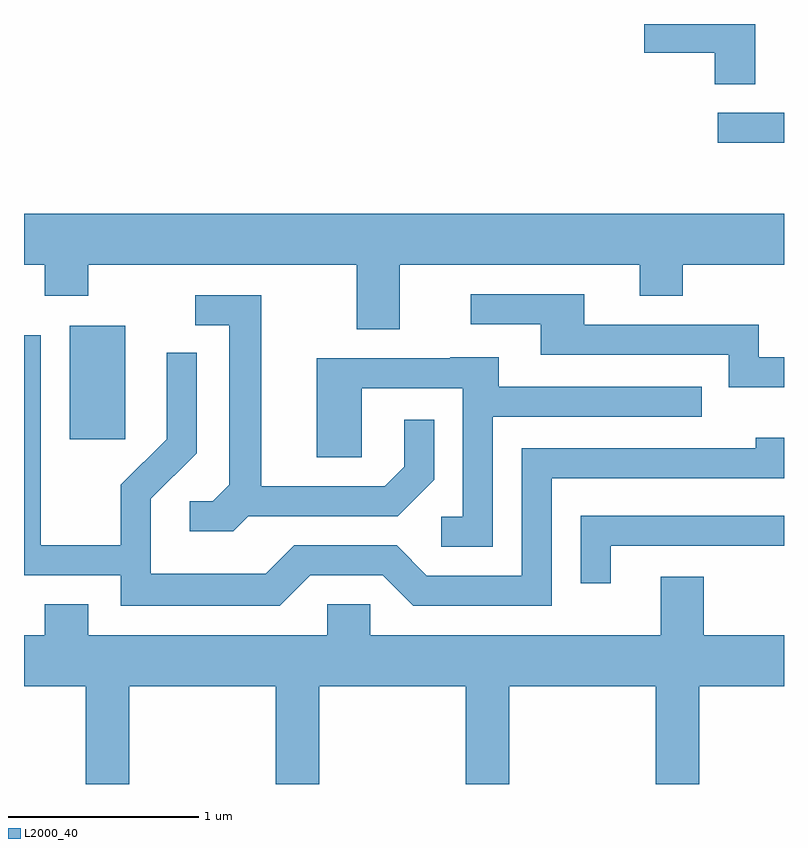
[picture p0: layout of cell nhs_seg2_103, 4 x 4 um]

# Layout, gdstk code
import gdstk
lib = gdstk.Library(unit=1e-6, precision=1e-09)
def R(c, l, rs):  # rectangles x0, y0, x1, y1
    for r in rs: c.add(gdstk.rectangle(r[:2], r[2:], *l))
def P(c, l, *ps):  # polygons
    for p in ps: c.add(gdstk.Polygon(p, *l))
L2000_40 = (2000, 40)

nhs_seg2_103 = lib.new_cell('nhs_seg2_103')
R(nhs_seg2_103, L2000_40, [(187.851,1049.616,188.144,1050.214), (191.263,1051.176,191.611,1051.334)])
P(nhs_seg2_103, L2000_40, [(191.459,1051.802),(190.876,1051.802),(190.876,1051.651),(191.246,1051.651),(191.246,1051.486),(191.459,1051.486)],
  [(189.589,1050.536),(190.851,1050.536),(190.851,1050.371),(191.079,1050.371),(191.079,1050.536),(191.611,1050.536),(191.611,1050.804),(187.611,1050.804),(187.611,1050.536),(187.721,1050.536),(187.721,1050.371),(187.949,1050.371),(187.949,1050.536),(189.361,1050.536),(189.361,1050.196),(189.589,1050.196)],
  [(191.611,1050.049),(191.479,1050.049),(191.479,1050.219),(190.559,1050.219),(190.559,1050.379),(189.963,1050.379),(189.963,1050.221),(190.331,1050.221),(190.331,1050.061),(191.321,1050.061),(191.321,1049.891),(191.611,1049.891)],
  [(188.792,1049.211),(189.577,1049.211),(189.769,1049.404),(189.769,1049.718),(189.611,1049.718),(189.611,1049.472),(189.509,1049.369),(188.859,1049.369),(188.859,1050.374),(188.513,1050.374),(188.513,1050.216),(188.691,1050.216),(188.691,1049.377),(188.604,1049.289),(188.483,1049.289),(188.483,1049.131),(188.712,1049.131)],
  [(189.117,1048.901),(189.499,1048.901),(189.659,1048.741),(190.389,1048.741),(190.389,1049.411),(191.611,1049.411),(191.611,1049.624),(191.461,1049.624),(191.461,1049.569),(190.231,1049.569),(190.231,1048.899),(189.732,1048.899),(189.572,1049.059),(189.034,1049.059),(188.884,1048.909),(188.279,1048.909),(188.279,1049.304),(188.519,1049.544),(188.519,1050.073),(188.361,1050.073),(188.361,1049.617),(188.121,1049.377),(188.121,1049.059),(187.699,1049.059),(187.699,1050.164),(187.611,1050.164),(187.611,1048.901),(188.121,1048.901),(188.121,1048.741),(188.957,1048.741)],
  [(190.079,1049.736),(191.178,1049.736),(191.178,1049.894),(190.109,1049.894),(190.109,1050.049),(189.855,1050.049),(189.855,1050.044),(189.151,1050.044),(189.151,1049.521),(189.389,1049.521),(189.389,1049.886),(189.921,1049.886),(189.921,1049.209),(189.808,1049.209),(189.808,1049.051),(190.079,1049.051)],
  [(190.699,1049.056),(191.611,1049.056),(191.611,1049.214),(190.541,1049.214),(190.541,1048.858),(190.699,1048.858)],
  [(188.164,1048.316),(188.936,1048.316),(188.936,1047.802),(189.164,1047.802),(189.164,1048.316),(189.936,1048.316),(189.936,1047.802),(190.164,1047.802),(190.164,1048.316),(190.936,1048.316),(190.936,1047.802),(191.164,1047.802),(191.164,1048.316),(191.611,1048.316),(191.611,1048.584),(191.189,1048.584),(191.189,1048.894),(190.961,1048.894),(190.961,1048.584),(189.434,1048.584),(189.434,1048.749),(189.206,1048.749),(189.206,1048.584),(187.949,1048.584),(187.949,1048.749),(187.721,1048.749),(187.721,1048.584),(187.611,1048.584),(187.611,1048.316),(187.936,1048.316),(187.936,1047.802),(188.164,1047.802)])

lib.write_gds('nhs_seg2_103.gds')
